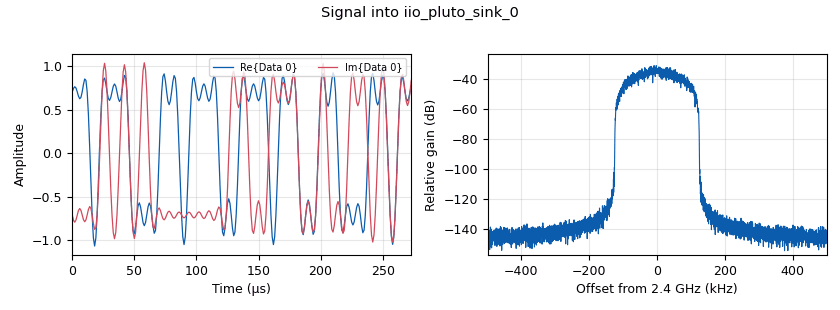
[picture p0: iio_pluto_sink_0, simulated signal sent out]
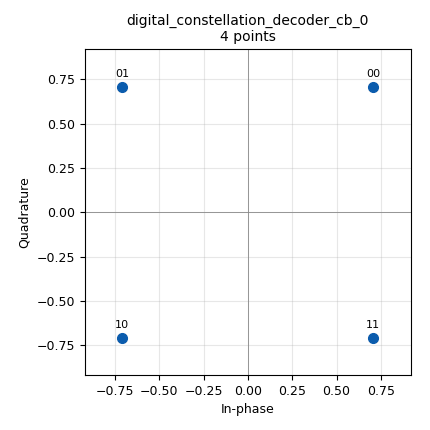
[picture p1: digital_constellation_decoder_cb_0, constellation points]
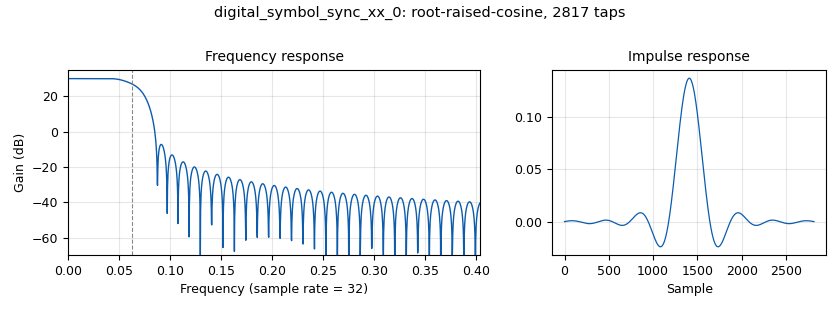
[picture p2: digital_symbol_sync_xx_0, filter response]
options:
  parameters:
    author: Andreas Just
    category: Custom
    generate_options: qt_gui
    id: PLUTO_TRX
    output_language: python
    title: PLUTO_TRX
  states: {}

blocks:
- name: LO_freq
  id: variable
  parameters:
    value: '2400000000'
  states: {}
- name: RF_F_S
  id: variable
  parameters:
    value: '1000000'
  states: {}
- name: delay
  id: variable_qtgui_range
  parameters:
    comment: 0,3,1,1
    gui_hint: 0,3,1,1
    label: Delay
    start: '0'
    step: '1'
    stop: '200'
    value: '50'
  states: {}
- name: excess_bw
  id: variable
  parameters:
    value: '1'
  states: {}
- name: freq_offset
  id: variable_qtgui_range
  parameters:
    comment: 0,2,1,1
    gui_hint: 0,2,1,1
    label: 'Channel: Frequency Offset'
    start: '-0.1'
    step: '0.001'
    stop: '0.1'
    value: '0.025'
  states: {}
- name: nfilts
  id: variable
  parameters:
    value: '32'
  states: {}
- name: noise_volt
  id: variable_qtgui_range
  parameters:
    comment: 0,0,1,1
    gui_hint: 0,0,1,1
    label: 'Channel: Noise Voltage'
    start: '0'
    step: '0.01'
    stop: '1'
    value: '0.2'
  states: {}
- name: phase_bw
  id: variable
  parameters:
    value: '0.0628'
  states: {}
- name: qpsk
  id: variable_constellation_rect
  parameters:
    const_points: '[0.707+0.707j, -0.707+0.707j, -0.707-0.707j, 0.707-0.707j]'
    imag_sect: '2'
    real_sect: '2'
    rot_sym: '4'
    sym_map: '[0, 1, 2, 3]'
    w_imag_sect: '1'
    w_real_sect: '1'
  states: {}
- name: rrc_taps
  id: variable
  parameters:
    value: firdes.root_raised_cosine(nfilts, nfilts, 1.0/float(sps), 0.35, 11*sps*nfilts)
  states: {}
- name: samp_rate
  id: variable
  parameters:
    value: '32000'
  states: {}
- name: sps
  id: variable
  parameters:
    value: '8'
  states: {}
- name: time_offset
  id: variable_qtgui_range
  parameters:
    comment: 0,1,1,1
    gui_hint: 0,1,1,1
    label: 'Channel: Timing Offset'
    start: '0.999'
    step: '0.0001'
    stop: '1.001'
    value: '1.0005'
  states: {}
- name: variable_adaptive_algorithm_0
  id: variable_adaptive_algorithm
  parameters:
    cons: qpsk
    modulus: '4'
    step_size: '.01'
    type: cma
  states: {}
- name: analog_random_source_x_0
  id: analog_random_source_x
  parameters:
    max: '256'
    min: '0'
    num_samps: '10000'
    repeat: 'True'
    type: byte
  states: {}
- name: blocks_char_to_float_0_0
  id: blocks_char_to_float
  parameters:
    scale: '1'
  states: {}
- name: blocks_char_to_float_0_0_0
  id: blocks_char_to_float
  parameters:
    scale: '1'
  states: {}
- name: blocks_delay_0
  id: blocks_delay
  parameters:
    delay: int(delay)
    type: float
  states: {}
- name: blocks_unpack_k_bits_bb_0
  id: blocks_unpack_k_bits_bb
  parameters:
    k: '2'
  states: {}
- name: blocks_unpack_k_bits_bb_0_0
  id: blocks_unpack_k_bits_bb
  parameters:
    k: '8'
  states: {}
- name: digital_constellation_decoder_cb_0
  id: digital_constellation_decoder_cb
  parameters:
    constellation: qpsk
  states: {}
- name: digital_constellation_modulator_0
  id: digital_constellation_modulator
  parameters:
    constellation: qpsk
    differential: 'True'
    excess_bw: excess_bw
    samples_per_symbol: sps
  states: {}
- name: digital_costas_loop_cc_0
  id: digital_costas_loop_cc
  parameters:
    order: '4'
    w: phase_bw
  states: {}
- name: digital_diff_decoder_bb_0
  id: digital_diff_decoder_bb
  parameters:
    coding: digital.DIFF_DIFFERENTIAL
    modulus: '4'
  states: {}
- name: digital_linear_equalizer_0
  id: digital_linear_equalizer
  parameters:
    alg: variable_adaptive_algorithm_0
    num_taps: '15'
    sps: '2'
  states: {}
- name: digital_map_bb_0
  id: digital_map_bb
  parameters:
    map: '[0,1,2,3]'
  states: {}
- name: digital_symbol_sync_xx_0
  id: digital_symbol_sync_xx
  parameters:
    damping: '1.0'
    loop_bw: phase_bw
    max_dev: '1.5'
    nfilters: '32'
    osps: '2'
    pfb_mf_taps: rrc_taps
    resamp_type: digital.IR_PFB_MF
    sps: sps
    ted_gain: '1.0'
    ted_type: digital.TED_SIGNAL_TIMES_SLOPE_ML
    type: cc
  states: {}
- name: iio_pluto_sink_0
  id: iio_pluto_sink
  parameters:
    attenuation1: '10'
    bandwidth: '20000000'
    buffer_size: '32768'
    cyclic: 'False'
    filter_source: '''Auto'''
    frequency: LO_freq
    samplerate: RF_F_S
    type: fc32
    uri: ip:10.0.0.120
  states: {}
- name: iio_pluto_source_0
  id: iio_pluto_source
  parameters:
    bandwidth: '20000000'
    bbdc: 'True'
    buffer_size: '32768'
    filter_source: '''Auto'''
    frequency: LO_freq
    gain1: '''slow_attack'''
    quadrature: 'True'
    rfdc: 'True'
    samplerate: RF_F_S
    type: fc32
    uri: ip:192.168.2.1
  states: {}
- name: qtgui_const_sink_x_0
  id: qtgui_const_sink_x
  parameters:
    comment: 1,0,1,2
    gui_hint: 1,0,1,2
    name: ''
    size: '1024'
    type: complex
  states: {}
- name: qtgui_time_sink_x_0
  id: qtgui_time_sink_x
  parameters:
    comment: 1,2,1,2
    gui_hint: 1,2,1,2
    label1: ''
    label2: ''
    name: ''
    nconnections: '2'
    size: '64'
    srate: samp_rate
    tr_mode: qtgui.TRIG_MODE_AUTO
    type: float
    ymax: '2'
    ymin: '-2'
  states: {}
- name: virtual_sink_0
  id: virtual_sink
  parameters:
    stream_id: r1
  states: {}
- name: virtual_sink_1
  id: virtual_sink
  parameters:
    stream_id: r2
  states: {}
- name: virtual_sink_2
  id: virtual_sink
  parameters:
    stream_id: t1
  states: {}
- name: virtual_source_0
  id: virtual_source
  parameters:
    stream_id: r1
  states: {}
- name: virtual_source_1
  id: virtual_source
  parameters:
    stream_id: r2
  states: {}
- name: virtual_source_2
  id: virtual_source
  parameters:
    stream_id: t1
  states: {}

connections:
- [analog_random_source_x_0, '0', digital_constellation_modulator_0, '0']
- [analog_random_source_x_0, '0', virtual_sink_2, '0']
- [blocks_char_to_float_0_0, '0', qtgui_time_sink_x_0, '0']
- [blocks_char_to_float_0_0_0, '0', blocks_delay_0, '0']
- [blocks_delay_0, '0', qtgui_time_sink_x_0, '1']
- [blocks_unpack_k_bits_bb_0, '0', blocks_char_to_float_0_0, '0']
- [blocks_unpack_k_bits_bb_0_0, '0', blocks_char_to_float_0_0_0, '0']
- [digital_constellation_decoder_cb_0, '0', digital_diff_decoder_bb_0, '0']
- [digital_constellation_modulator_0, '0', iio_pluto_sink_0, '0']
- [digital_costas_loop_cc_0, '0', digital_constellation_decoder_cb_0, '0']
- [digital_costas_loop_cc_0, '0', qtgui_const_sink_x_0, '0']
- [digital_diff_decoder_bb_0, '0', digital_map_bb_0, '0']
- [digital_linear_equalizer_0, '0', virtual_sink_0, '0']
- [digital_map_bb_0, '0', virtual_sink_1, '0']
- [digital_symbol_sync_xx_0, '0', digital_linear_equalizer_0, '0']
- [iio_pluto_source_0, '0', digital_symbol_sync_xx_0, '0']
- [virtual_source_0, '0', digital_costas_loop_cc_0, '0']
- [virtual_source_1, '0', blocks_unpack_k_bits_bb_0, '0']
- [virtual_source_2, '0', blocks_unpack_k_bits_bb_0_0, '0']

metadata:
  file_format: 1
  grc_version: 3.10.7.0
